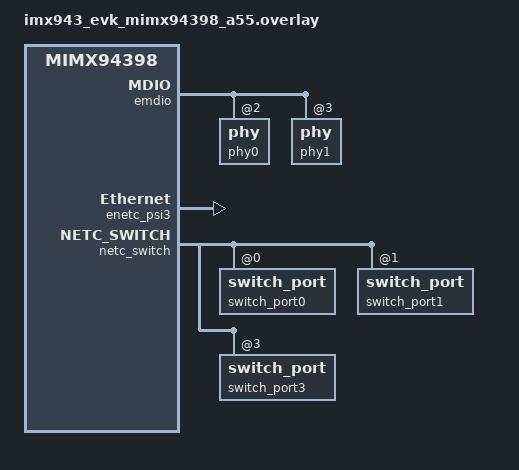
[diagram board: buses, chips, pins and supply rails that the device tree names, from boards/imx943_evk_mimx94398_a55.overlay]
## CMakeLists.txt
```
# SPDX-License-Identifier: Apache-2.0

cmake_minimum_required(VERSION 3.20.0)

find_package(Zephyr REQUIRED HINTS $ENV{ZEPHYR_BASE})
project(dsa)

target_sources(app PRIVATE src/main.c)
```

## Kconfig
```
# Private config options for DSA

# Copyright 2024 NXP
# SPDX-License-Identifier: Apache-2.0

mainmenu "DSA sample application"

if NET_DSA

config NET_SAMPLE_DSA_MAX_USER_PORTS
	int "DSA user ports maximum number"
	range 2 10
	default 3
	help
	  DSA user ports maximum number.

endif

source "Kconfig.zephyr"
```

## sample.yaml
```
sample:
  description: Test DSA functionality
  name: DSA sample app
common:
  harness: net
  tags:
    - net
    - dsa
tests:
  sample.net.dsa:
    build_only: true
    platform_allow:
      - ip_k66f
      - mimxrt1180_evk/mimxrt1189/cm33
      - mimxrt1180_evk/mimxrt1189/cm7
      - frdm_imxrt1186/mimxrt1186/cm33
      - frdm_imxrt1186/mimxrt1186/cm7/extmem
      - imx943_evk/mimx94398/m33/ddr
      - imx943_evk/mimx94398/a55
    depends_on: eth
```

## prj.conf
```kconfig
CONFIG_NETWORKING=y
CONFIG_NET_LOG=y
CONFIG_NET_IPV6=y
CONFIG_NET_IPV4=y
CONFIG_NET_DHCPV4=y
CONFIG_NET_UDP=y
CONFIG_NET_TCP=y
CONFIG_NET_STATISTICS=y
CONFIG_NET_STATISTICS_USER_API=y

CONFIG_TEST_RANDOM_GENERATOR=y

CONFIG_NET_PKT_RX_COUNT=64
CONFIG_NET_PKT_TX_COUNT=64
CONFIG_NET_BUF_RX_COUNT=64
CONFIG_NET_BUF_TX_COUNT=64
CONFIG_NET_IF_UNICAST_IPV6_ADDR_COUNT=5
CONFIG_NET_IF_MCAST_IPV6_ADDR_COUNT=5
CONFIG_NET_IF_UNICAST_IPV4_ADDR_COUNT=1
CONFIG_NET_MAX_CONTEXTS=4
CONFIG_ZVFS_POLL_MAX=4
CONFIG_NET_MAX_CONN=4

CONFIG_INIT_STACKS=y
CONFIG_PRINTK=y
CONFIG_NET_SHELL=y

# DSA support
CONFIG_NET_DSA=y

# Ethernet is needed for LLDP
CONFIG_ETH_DRIVER=y

# Logging
CONFIG_LOG=y
CONFIG_NET_DSA_LOG_LEVEL_INF=y

# Support for lan1..3 as RAW_SOCKETS
CONFIG_NET_SOCKETS=y
CONFIG_NET_SOCKETS_PACKET=y
CONFIG_POSIX_AEP_CHOICE_NETAPP=y

# How many traffic classes to enable
CONFIG_NET_TC_TX_COUNT=6
CONFIG_NET_TC_RX_COUNT=4

CONFIG_REQUIRES_FULL_LIBC=y

CONFIG_NET_IF_MAX_IPV4_COUNT=4
CONFIG_NET_IF_MAX_IPV6_COUNT=4

CONFIG_NET_MGMT=y
CONFIG_NET_MGMT_EVENT=y
CONFIG_NET_MGMT_EVENT_STACK_SIZE=2048

CONFIG_NET_HOSTNAME_ENABLE=y
CONFIG_NET_HOSTNAME="dsa"
```

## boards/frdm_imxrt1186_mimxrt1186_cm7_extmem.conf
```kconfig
CONFIG_NET_IF_MAX_IPV4_COUNT=7
CONFIG_NET_IF_MAX_IPV6_COUNT=7

CONFIG_NET_SAMPLE_DSA_MAX_USER_PORTS=2
```

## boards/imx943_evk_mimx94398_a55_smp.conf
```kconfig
CONFIG_HEAP_MEM_POOL_SIZE=851968
```

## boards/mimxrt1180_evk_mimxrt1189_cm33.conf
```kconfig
CONFIG_NET_IF_MAX_IPV4_COUNT=7
CONFIG_NET_IF_MAX_IPV6_COUNT=7

CONFIG_NET_SAMPLE_DSA_MAX_USER_PORTS=5
```

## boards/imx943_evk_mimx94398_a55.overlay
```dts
/*
 * Copyright 2025 NXP
 *
 * SPDX-License-Identifier: Apache-2.0
 */

&emdio {
	status = "okay";

	phy0: phy@2 {
		status = "okay";
	};

	phy1: phy@3 {
		status = "okay";
	};
};

/* Internal port */
&enetc_psi3 {
	status = "okay";
};

&netc_switch {
	status = "okay";

	switch_port0: switch_port@0 {
		status = "okay";
	};

	switch_port1: switch_port@1 {
		status = "okay";
	};

	/* Internal port */
	switch_port3: switch_port@3 {
		status = "okay";
	};
};
```

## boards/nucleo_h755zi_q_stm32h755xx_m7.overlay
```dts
/*
 * Copyright (c) 2026 Vilhelm Engström
 *
 * SPDX-License-Identifier: Apache-2.0
 *
 * Example of how to configure the Microchip KSZ8463 switch for use with
 * STMicroelectronics's Nucleo H755ZI-Q board. This particular file assumes the
 * switch is connected to spi1 and is written for the KSz8463ML evaluation kit,
 * the host port of which uses MII. To use RMII, change the phy-connection-type
 * property of the CPU port node to "rmii" and mux the appropriate pins.
 *
 * Note that the Nucleo board comes with a LAN8742A PHY that needs to be removed
 * in order to connect said board to the KSZ8463ML evaluation kit via the MII
 * lines. See the README for this sample for more information.
 */

#include <st/h7/stm32h755zitx-pinctrl.dtsi>
#include <zephyr/dt-bindings/pinctrl/stm32-pinctrl.h>
#include <zephyr/dt-bindings/ethernet/dsa_tag_proto.h>

&mac {
	pinctrl-0 = <&eth_mii_col_pa3
		     &eth_mii_crs_pa0
		     &eth_mii_rx_clk_pa1
		     &eth_mii_rx_dv_pa7
		     &eth_mii_rx_er_pb10
		     &eth_mii_rxd0_pc4
		     &eth_mii_rxd1_pc5
		     &eth_mii_rxd2_pb0
		     &eth_mii_rxd3_pb1
		     &eth_mii_tx_clk_pc3
		     &eth_mii_tx_en_pb11
		     &eth_mii_txd0_pb12
		     &eth_mii_txd1_pb13
		     &eth_mii_txd2_pc2
		     &eth_mii_txd3_pb8
		     &eth_mii_tx_er_pb2>;
	pinctrl-names = "default";

	phy-handle = <&phy0>;

	/* KSZ8463ML uses MII */
	phy-connection-type = "mii";

	status = "okay";
};

&mdio {
	pinctrl-0 = <&eth_mdc_pc1
		     &eth_mdio_pa2>;
	pinctrl-names = "default";

	status = "okay";

	/* PHY for CPU port */
	phy0: ethernet-phy@0 {
		/* Know the capabilities of both the MAC transceiver and
		 * the switch, no sense attempting to negotiate speeds
		 */
		compatible = "ethernet-phy-fixed-link";

		/* KSZ8463 capped at 100Mbps, Full-Duplex */
		default-speeds = "100BASE Full-Duplex";

		reg = <0>;
		status = "okay";
	};
};

&pinctrl {
	eth_mdc_pc1: eth_mdc_pc1 {
		pinmux = <STM32_PINMUX('C', 1, AF11)>; /* ETH_MDC */
	};

	eth_mdio_pa2: eth_mdio_pa2 {
		pinmux = <STM32_PINMUX('A', 2, AF11)>; /* ETH_MDIO */
	};

	eth_mii_col_pa3: eth_mii_col_pa3 {
		pinmux = <STM32_PINMUX('A', 3, AF11)>; /* ETH_MII_COL */
	};

	eth_mii_crs_pa0: eth_mii_crs_pa0 {
		pinmux = <STM32_PINMUX('A', 0, AF11)>; /* ETH_MII_CRS */
	};

	eth_mii_rx_clk_pa1: eth_mii_rx_clk_pa1 {
		pinmux = <STM32_PINMUX('A', 1, AF11)>; /* ETH_MII_RX_CLK */
	};

	eth_mii_rx_dv_pa7: eth_mii_rx_dv_pa7 {
		pinmux = <STM32_PINMUX('A', 7, AF11)>; /* ETH_MII_RX_DV */
	};

	eth_mii_rx_er_pb10: eth_mii_rx_er_pb10 {
		pinmux = <STM32_PINMUX('B', 10, AF11)>; /* ETH_MII_RX_ER */
	};

	eth_mii_rxd0_pc4: eth_mii_rxd0_pc4 {
		pinmux = <STM32_PINMUX('C', 4, AF11)>; /* ETH_MII_RXD0 */
	};

	eth_mii_rxd1_pc5: eth_mii_rxd1_pc5 {
		pinmux = <STM32_PINMUX('C', 5, AF11)>; /* ETH_MII_RXD1 */
	};

	eth_mii_rxd2_pb0: eth_mii_rxd2_pb0 {
		pinmux = <STM32_PINMUX('B', 0, AF11)>; /* ETH_MII_RXD2 */
	};

	eth_mii_rxd3_pb1: eth_mii_rxd3_pb1 {
		pinmux = <STM32_PINMUX('B', 1, AF11)>; /* ETH_MII_RXD3 */
	};

	eth_mii_tx_clk_pc3: eth_mii_tx_clk_pc3 {
		pinmux = <STM32_PINMUX('C', 3, AF11)>; /* ETH_MII_TX_CLK */
	};

	eth_mii_tx_en_pb11: eth_mii_tx_en_pb11 {
		pinmux = <STM32_PINMUX('B', 11, AF11)>; /* ETH_MII_TX_EN */
	};

	eth_mii_tx_er_pb2: eth_mii_tx_er_pb2 {
		pinmux = <STM32_PINMUX('B', 2, AF11)>; /* ETH_TX_ER */
	};

	eth_mii_txd0_pb12: eth_mii_txd0_pb12 {
		pinmux = <STM32_PINMUX('B', 12, AF11)>; /* ETH_MII_TXD0 */
	};

	eth_mii_txd1_pb13: eth_mii_txd1_pb13 {
		pinmux = <STM32_PINMUX('B', 13, AF11)>; /* ETH_MII_TXD1 */
	};

	eth_mii_txd2_pc2: eth_mii_txd2_pc2 {
		pinmux = <STM32_PINMUX('C', 2, AF11)>; /* ETH_MII_TXD2 */
	};

	eth_mii_txd3_pb8: eth_mii_txd3_pb8 {
		pinmux = <STM32_PINMUX('B', 8, AF11)>; /* ETH_MII_TXD3 */
	};

	spi1_nss_pa4: spi1_nss_pa4 {
		pinmux = <STM32_PINMUX('A', 4, AF5)>; /* SPI1_NSS */
	};

	spi1_sck_pa5: spi1_sck_pa5 {
		pinmux = <STM32_PINMUX('A', 5, AF5)>; /* SPI1_SCK */
	};

	spi1_miso_pa6: spi1_miso_pa6 {
		pinmux = <STM32_PINMUX('A', 6, AF5)>; /* SPI1_MISO */
	};

	spi1_mosi_pa7: spi1_mosi_pa7 {
		pinmux = <STM32_PINMUX('A', 7, AF5)>; /* SPI1_MOSI */
	};

	sw1_rst_pb3: sw1_rst_pb3 {
		pinmux = <STM32_PINMUX('B', 3, GPIO)>; /* GPIO */
	};

	sw1_irq_pb5: sw1_irq_pb5 {
		pinmux = <STM32_PINMUX('B', 5, GPIO)>; /* GPIO */
	};
};

/* For sys_rand_get */
&rng {
	status = "okay";
};

/* Switch connected to SPI bus 1 */
&spi1 {
	cs-gpios = <&gpioa 4 GPIO_ACTIVE_LOW>;

	pinctrl-0 = <&spi1_nss_pa4
		     &spi1_sck_pa5
		     &spi1_miso_pa6
		     &spi1_mosi_pa7>;
	pinctrl-names = "default";

	status = "okay";

	sw1: ethernet-switch@0 {
		compatible = "microchip,ksz8463";

		/* Chip-select 0 */
		reg = <0>;

		#address-cells = <1>;
		#size-cells = <0>;

		spi-max-frequency = <DT_FREQ_K(12500)>;

		/* Hardware reset is active low */
		reset-gpios = <&gpiob 3 GPIO_ACTIVE_LOW>;

		/* Interrupt output is active low */
		int-gpios = <&gpiob 5 GPIO_ACTIVE_LOW>;

		/* Enable IGMP snooping */
		microchip,igmp-snoop-en;

		/* Enable MLD snooping */
		microchip,mld-snoop-en;

		status = "okay";

		/* User port 1 */
		sw1_port1: port@0 {
			compatible = "zephyr,dsa-port";
			reg = <0>;

			/* Use random MAC */
			zephyr,random-mac-address;

			status = "okay";

			/* Internal PHY */
			phy {
				compatible = "microchip,ksz8463-phy";

				/* Fall back on 10BASE Half-Duplex on auto-negotiation failure */
				microchip,fixed-link-speed = "10BASE Half-Duplex";

				status = "okay";
			};
		};

		/* User port 2 */
		sw1_port2: port@1 {
			compatible = "zephyr,dsa-port";
			reg = <1>;

			zephyr,random-mac-address;

			status = "okay";

			/* Internal PHY */
			phy {
				compatible = "microchip,ksz8463-phy";

				/* Fall back on 100BASE Full-Duplex on auto-negotiation failure */
				microchip,fixed-link-speed = "100BASE Full-Duplex";

				status = "okay";
			};
		};

		/* CPU port */
		sw1_port3: port@2 {
			compatible = "zephyr,dsa-port";
			reg = <2>;

			/* Port is connected to the STM MAC */
			ethernet = <&mac>;

			/* KSZ8463ML uses MII */
			phy-connection-type = "mii";

			/* Enable tail tagging */
			dsa-tag-protocol = <DSA_TAG_PROTO_KSZ8463>;

			status = "okay";
		};
	};
};
```

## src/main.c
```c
/*
 * Copyright (c) 2020 DENX Software Engineering GmbH
 *
 * SPDX-License-Identifier: Apache-2.0
 */

#include <zephyr/logging/log.h>
LOG_MODULE_REGISTER(net_dsa_sample, CONFIG_NET_DSA_LOG_LEVEL);

#include "dsa.h"

struct ud g_user_data = {0};

static void dsa_iface_find_cb(struct net_if *iface, void *user_data)
{

	struct ud *ifaces = user_data;

	if (net_if_l2(iface) != &NET_L2_GET_NAME(ETHERNET)) {
		return;
	}

	if ((net_eth_get_dsa_port_type(iface) == DSA_CONDUIT_PORT) &&
	    (ifaces->conduit == NULL)) {
		ifaces->conduit = iface;

		/* Get user interfaces */
		for (int i = 0; i < ARRAY_SIZE(ifaces->lan); i++) {
			struct net_if *user = dsa_user_get_iface(iface, i);
			if (user == NULL) {
				continue;
			}
			LOG_INF("[%d] User interface %d found.", i, net_if_get_by_iface(user));

			ifaces->lan[i] = user;
		}
		return;
	}
}

#if defined(CONFIG_NET_MGMT_EVENT)
#define EVENT_MASK (NET_EVENT_IF_UP)
static struct net_mgmt_event_callback mgmt_cb;

static void event_handler(struct net_mgmt_event_callback *cb,
			  uint64_t mgmt_event, struct net_if *iface)
{
	ARG_UNUSED(iface);
	ARG_UNUSED(cb);

	if (mgmt_event == NET_EVENT_IF_UP) {
		LOG_INF("Port %d is up", net_if_get_by_iface(iface));

#if defined(CONFIG_NET_DHCPV4)
		net_dhcpv4_start(iface);
#endif

		return;
	}
}
#endif /* CONFIG_NET_MGMT_EVENT */

int main(void)
{
	/* Initialize interfaces - read them to user_data */
	net_if_foreach(dsa_iface_find_cb, &g_user_data);

#if defined(CONFIG_NET_MGMT_EVENT)
	net_mgmt_init_event_callback(&mgmt_cb,
				     event_handler, EVENT_MASK);
	net_mgmt_add_event_callback(&mgmt_cb);
#endif /* CONFIG_NET_MGMT_EVENT */
	LOG_INF("DSA ports init - OK");
	return 0;
}
```

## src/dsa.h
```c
/*
 * Copyright (c) 2020 DENX Software Engineering GmbH
 * Copyright 2024 NXP
 *
 * SPDX-License-Identifier: Apache-2.0
 */

#ifndef __DSA_SAMPLE__
#define __DSA_SAMPLE__

#include <zephyr/net/dsa_core.h>
#include <zephyr/net/ethernet.h>

extern struct ud g_user_data;

/* User data for the interface callback */
struct ud {
	struct net_if *lan[CONFIG_NET_SAMPLE_DSA_MAX_USER_PORTS];
	struct net_if *conduit;
};

#endif
```

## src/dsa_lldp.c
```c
/*
 * Copyright (c) 2020 DENX Software Engineering GmbH
 *
 * SPDX-License-Identifier: Apache-2.0
 */

#include <stdlib.h>
#include <stdio.h>
#include <string.h>

#include <zephyr/posix/netinet/in.h>
#include <zephyr/posix/sys/socket.h>
#include <zephyr/posix/arpa/inet.h>
#include <zephyr/posix/unistd.h>

#include <zephyr/net/socket.h>
#include <zephyr/net/net_core.h>
#include <zephyr/net/net_l2.h>
#include <zephyr/net/net_if.h>
#include <zephyr/net/ethernet.h>
#include <zephyr/net/lldp.h>
#include <errno.h>

#include <zephyr/logging/log.h>

/* Loglevel of dsa_lldp function */
LOG_MODULE_DECLARE(net_dsa_sample, CONFIG_NET_DSA_LOG_LEVEL);

#include "dsa_lldp.h"

#define LLDP_SYSTEM_NAME_SIZE    24
#define LLDP_ETHER_TYPE          0x88CC
#define LLDP_INPUT_DATA_BUF_SIZE 512
#define DSA_BUF_SIZ              128

static const uint8_t eth_filter_l2_addr_base[][6] = {
	/* MAC address of other device - for filtering testing */
	{0x01, 0x80, 0xc2, 0x00, 0x00, 0x03}};

enum net_verdict dsa_ll_addr_switch_cb(struct net_if *iface, struct net_pkt *pkt)
{
	struct net_eth_hdr *hdr = NET_ETH_HDR(pkt);
	struct net_linkaddr lladst = { 0 };

	net_pkt_cursor_init(pkt);

	(void)net_linkaddr_set(&lladst, (const uint8_t *)hdr->dst.addr,
			       sizeof(hdr->dst.addr));

	/*
	 * Pass packet to lan1..3 when matching one from
	 * check_ll_ether_addr table
	 */
	if (check_ll_ether_addr(lladst.addr, &eth_filter_l2_addr_base[0][0])) {
		return NET_CONTINUE;
	}

	return NET_OK;
}

int start_user_port_packet_socket(struct net_if *iface, struct instance_data *pd)
{
	struct sockaddr_ll dst;
	int ret;

	pd->sock = socket(AF_PACKET, SOCK_RAW, htons(ETH_P_ALL));
	if (pd->sock < 0) {
		LOG_ERR("Failed to create RAW socket : %d", errno);
		return -errno;
	}

	dst.sll_ifindex = net_if_get_by_iface(iface);
	dst.sll_family = AF_PACKET;

	ret = bind(pd->sock, (const struct sockaddr *)&dst, sizeof(struct sockaddr_ll));
	if (ret < 0) {
		LOG_ERR("Failed to bind packet socket : %d", errno);
		return -errno;
	}

	return 0;
}

void dsa_lldp(struct ud *user_data)
{
	uint8_t tbl_buf[8];

	/*
	 * Set static table to forward LLDP protocol packets
	 * to conduit port.
	 */
	dsa_switch_set_mac_table_entry(user_data->lan[0], &eth_filter_l2_addr_base[0][0], BIT(4), 0,
				       0);
	dsa_switch_get_mac_table_entry(user_data->lan[0], tbl_buf, 0);

	LOG_INF("DSA static MAC address table entry [%d]:", 0);
	LOG_INF("0x%x 0x%x 0x%x 0x%x 0x%x 0x%x 0x%x 0x%x", tbl_buf[7], tbl_buf[6], tbl_buf[5],
		tbl_buf[4], tbl_buf[3], tbl_buf[2], tbl_buf[1], tbl_buf[0]);
}

static int dsa_lldp_send(struct net_if *iface, struct instance_data *pd, uint16_t lan, int src_port,
			 int origin_port, int cmd, struct eth_addr *origin_addr)
{
	int ret, len;
	char buffer[DSA_BUF_SIZ], sys_name[LLDP_SYSTEM_NAME_SIZE];
	struct sockaddr_ll dst;
	struct ethernet_context *ctx = net_if_l2_data(iface);
	struct net_eth_hdr *eth_hdr = (struct net_eth_hdr *)buffer;
	uint8_t *p = &buffer[sizeof(struct net_eth_hdr)];
	uint8_t *pb = p;

	lan = ctx->dsa_port_idx;

	dst.sll_ifindex = net_if_get_by_iface(iface);
	/* Construct the Ethernet header */
	memset(buffer, 0, DSA_BUF_SIZ);
	/* Ethernet header */
	/* Take MAC address assigned to LAN port */
	memcpy(eth_hdr->src.addr, net_if_get_link_addr(iface)->addr, ETH_ALEN);
	eth_hdr->dst.addr[0] = MCAST_DEST_MAC0;
	eth_hdr->dst.addr[1] = MCAST_DEST_MAC1;
	eth_hdr->dst.addr[2] = MCAST_DEST_MAC2;
	eth_hdr->dst.addr[3] = MCAST_DEST_MAC3;
	eth_hdr->dst.addr[4] = MCAST_DEST_MAC4;
	eth_hdr->dst.addr[5] = MCAST_DEST_MAC5;

	/* Ethertype field */
	eth_hdr->type = htons(LLDP_ETHER_TYPE);

	/* LLDP packet data */
	/* Chassis ID */
	dsa_buf_write_be16((LLDP_TLV_CHASSIS_ID << 9) | (ETH_ALEN + 1), &p);
	*p++ = 4; /* subtype */
	memcpy(p, net_if_get_link_addr(iface)->addr, ETH_ALEN);
	p += ETH_ALEN;

	/* PORT ID */
	dsa_buf_write_be16((LLDP_TLV_PORT_ID << 9) | (ETH_ALEN + 1), &p);
	*p++ = 3; /* subtype */
	memcpy(p, net_if_get_link_addr(iface)->addr, ETH_ALEN);
	p += ETH_ALEN;

	/* TTL ID */
	dsa_buf_write_be16((LLDP_TLV_TTL << 9) | 2, &p);
	*p++ = 0; /* TTL field is 2 bytes long */
	*p++ = 120;

	/* SYSTEM NAME */
	memset(sys_name, 0, sizeof(sys_name));
	sprintf(sys_name, "ip_k66f LAN:%d", lan);
	dsa_buf_write_be16((LLDP_TLV_SYSTEM_NAME << 9) | strlen(sys_name), &p);
	memcpy(p, sys_name, strlen(sys_name));
	p += strlen(sys_name);

	len = sizeof(struct net_eth_hdr) + (p - pb);
	ret = sendto(pd->sock, buffer, len, 0, (const struct sockaddr *)&dst,
		     sizeof(struct sockaddr_ll));
	if (ret < 0) {
		LOG_ERR("Failed to send, errno %d", errno);
	}

	return 0;
}

static void dsa_lldp_print_info(uint8_t *lldp_p, uint8_t lanid)
{
	uint16_t tl, length;
	uint8_t type;
	uint8_t *p, t1, t2;
	char t[LLDP_INPUT_DATA_BUF_SIZE];

	LOG_INF("LLDP pkt recv -> lan%d", lanid);
	do {
		/* In-buffer data is stored as big endian */
		t1 = *lldp_p++;
		t2 = *lldp_p++;
		tl = (uint16_t)t1 << 8 | t2;

		/* Get type and length */
		type = tl >> 9;
		length = tl & 0x1FF;

		if (type == LLDP_TLV_CHASSIS_ID || type == LLDP_TLV_PORT_ID) {
			/* Extract subtype */
			lldp_p++;
			length--;
		}

		p = lldp_p;

		switch (type) {
		case LLDP_TLV_END_LLDPDU:
			return;
		case LLDP_TLV_CHASSIS_ID:
			LOG_INF("\tCHASSIS ID:\t%02x:%02x:%02x:%02x:%02x:%02x", p[0], p[1], p[2],
				p[3], p[4], p[5]);
			break;
		case LLDP_TLV_PORT_ID:
			LOG_INF("\tPORT ID:\t%02x:%02x:%02x:%02x:%02x:%02x", p[0], p[1], p[2], p[3],
				p[4], p[5]);
			break;
		case LLDP_TLV_TTL:
			/* TTL field has 2 bytes in BE */
			LOG_INF("\tTTL:\t\t%ds", (uint16_t)p[0] << 8 | p[1]);
			break;
		case LLDP_TLV_SYSTEM_NAME:
			memset(t, 0, length + 1);
			memcpy(t, p, length);
			LOG_INF("\tSYSTEM NAME:\t%s", t);
			break;
		default:
			LOG_WRN("\tUnknown TLV type: %d (length: %d)", type, length);
			break;
		}
		lldp_p += length;
	} while (1);
}

static int dsa_lldp_recv(struct net_if *iface, struct instance_data *pd, uint16_t *lan,
			 int *origin_port, struct eth_addr *origin_addr)
{
	struct ethernet_context *ctx = net_if_l2_data(iface);
	struct net_eth_hdr *eth_hdr = (struct net_eth_hdr *)pd->recv_buffer;
	uint8_t *lldp_p = &pd->recv_buffer[sizeof(struct net_eth_hdr)];
	int received;

	*lan = ctx->dsa_port_idx;

	/* Receive data */
	received = recv(pd->sock, pd->recv_buffer, sizeof(pd->recv_buffer), 0);
	if (received < 0) {
		LOG_ERR("RAW : recv error %d", errno);
		return -1;
	}

	if (eth_hdr->type != 0xCC88) {
		LOG_ERR("Wrong LLDP packet type value [0x%x]", eth_hdr->type);
		return -1;
	}

	dsa_lldp_print_info(lldp_p, *lan);
	return 0;
}

DSA_THREAD(1, dsa_lldp_recv, dsa_lldp_send)
DSA_THREAD(2, dsa_lldp_recv, dsa_lldp_send)
DSA_THREAD(3, dsa_lldp_recv, dsa_lldp_send)
```

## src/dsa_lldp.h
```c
/*
 * Copyright (c) 2020 DENX Software Engineering GmbH
 * Copyright 2024 NXP
 *
 * SPDX-License-Identifier: Apache-2.0
 */

#ifndef __DSA_SAMPLE_LLDP__
#define __DSA_SAMPLE_LLDP__

#include "dsa.h"

#define MCAST_DEST_MAC0 0x01
#define MCAST_DEST_MAC1 0x80
#define MCAST_DEST_MAC2 0xc2
#define MCAST_DEST_MAC3 0x00
#define MCAST_DEST_MAC4 0x00
#define MCAST_DEST_MAC5 0x03

#define RECV_BUFFER_SIZE 1280
#define ETH_ALEN         6
#define PACKET_LEN       128

struct eth_addr {
	uint8_t addr[ETH_ALEN]; /* origin hardware address */
};

struct instance_data {
	char *if_name;
	int sock;
	char recv_buffer[RECV_BUFFER_SIZE];
};

static inline bool check_ll_ether_addr(const uint8_t *a, const uint8_t *b)
{
	return ((a[0] ^ b[0]) | (a[1] ^ b[1]) | (a[2] ^ b[2]) | (a[3] ^ b[3]) | (a[4] ^ b[4]) |
		(a[5] ^ b[5])) == 0;
}

static inline void dsa_buf_write_be16(uint16_t tl, uint8_t **p)
{
	uint8_t *v = (uint8_t *)&tl;
	**p = v[1];
	(*p)++;
	**p = v[0];
	(*p)++;
}

int start_user_port_packet_socket(struct net_if *iface, struct instance_data *pd);

enum net_verdict dsa_ll_addr_switch_cb(struct net_if *iface, struct net_pkt *pkt);

void dsa_lldp(struct ud *user_data);

#define CMD_DISCOVER           0
#define CMD_ACK                1
#define DSA_STACK_SIZE         4096
#define DSA_PRIORITY           5
#define DSA_THREAD_START_DELAY 4000

#define DSA_THREAD(ID, FN_RECV, FN_SEND)                                                           \
	static void dsa_thread_##ID(void *t1, void *t2, void *t3);                                 \
	K_THREAD_DEFINE(dsa_tid_##ID, DSA_STACK_SIZE, dsa_thread_##ID, NULL, NULL, NULL,           \
			DSA_PRIORITY, 0, DSA_THREAD_START_DELAY);                                  \
                                                                                                   \
	void dsa_thread_##ID(void *t1, void *t2, void *t3)                                         \
	{                                                                                          \
		int origin_port, ret;                                                              \
		uint16_t seq;                                                                      \
		struct eth_addr origin_addr;                                                       \
		struct instance_data data;                                                         \
		struct net_if *iface;                                                              \
                                                                                                   \
		iface = g_user_data.lan[ID - 1];                                                   \
                                                                                                   \
		data.if_name = "lan" #ID;                                                          \
		ret = start_user_port_packet_socket(iface, &data);                                \
		if (ret < 0) {                                                                     \
			LOG_ERR("start_user_port_packet_socket failed %d", ret);                  \
			return;                                                                    \
		}                                                                                  \
		dsa_register_recv_callback(iface, dsa_ll_addr_switch_cb);                          \
                                                                                                   \
		LOG_INF("DSA -> eth/lan" #ID " idx: %d sock: %d", net_if_get_by_iface(iface),      \
			data.sock);                                                                \
		do {                                                                               \
			ret = FN_RECV(iface, &data, &seq, &origin_port, &origin_addr);             \
			if (ret) {                                                                 \
				break;                                                             \
			}                                                                          \
			ret = FN_SEND(iface, &data, seq, 0, origin_port, CMD_ACK, &origin_addr);   \
			if (ret) {                                                                 \
				break;                                                             \
			}                                                                          \
		} while (true);                                                                    \
	}

#endif /* __DSA_SAMPLE_LLDP__ */
```
